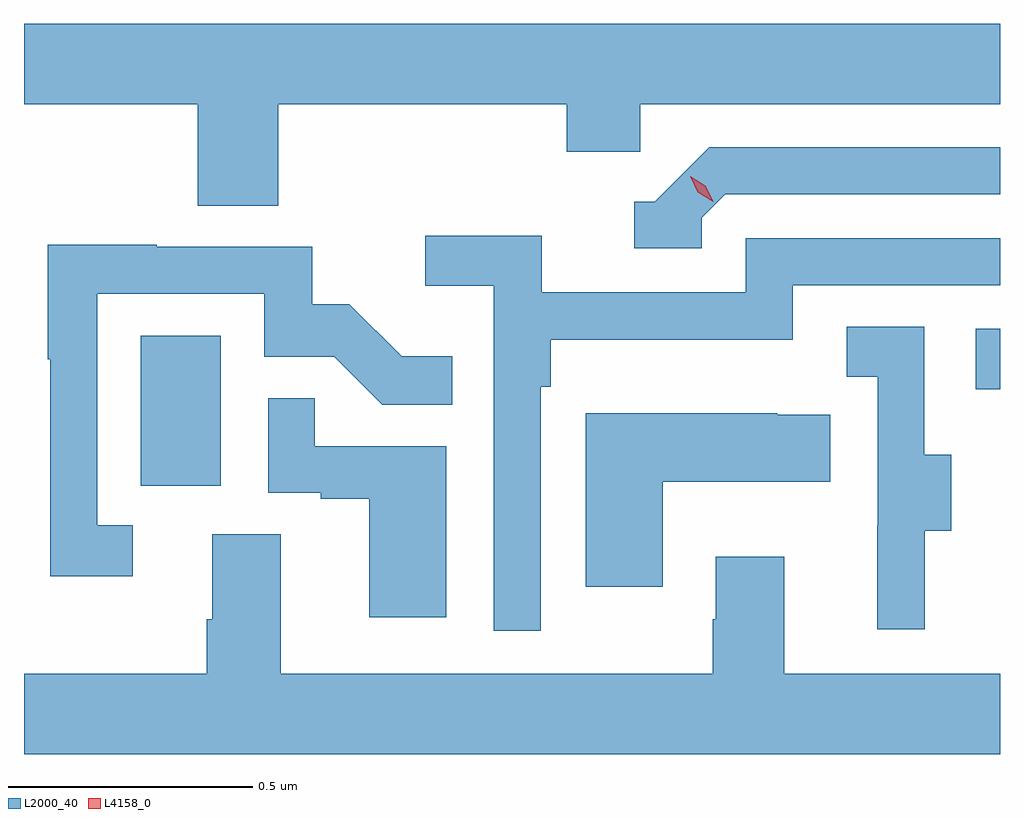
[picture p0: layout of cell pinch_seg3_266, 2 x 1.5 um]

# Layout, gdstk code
import gdstk
lib = gdstk.Library(unit=1e-6, precision=1e-09)
def R(c, l, rs):  # rectangles x0, y0, x1, y1
    for r in rs: c.add(gdstk.rectangle(r[:2], r[2:], *l))
def P(c, l, *ps):  # polygons
    for p in ps: c.add(gdstk.Polygon(p, *l))
L2000_40 = (2000, 40)
L4158_0 = (4158, 0)

pinch_seg3_266 = lib.new_cell('pinch_seg3_266')
R(pinch_seg3_266, L2000_40, [(899.252,721.446,899.416,721.753), (900.963,721.643,901.013,721.767)])
P(pinch_seg3_266, L2000_40, [(899.534,722.228),(900.125,722.228),(900.125,722.13),(900.276,722.13),(900.276,722.228),(901.013,722.228),(901.013,722.392),(899.013,722.392),(899.013,722.228),(899.369,722.228),(899.369,722.02),(899.534,722.02)],
  [(900.402,721.995),(900.45,722.043),(901.013,722.043),(901.013,722.139),(900.417,722.139),(900.306,722.028),(900.263,722.028),(900.263,721.932),(900.402,721.932)],
  [(900.072,721.649),(900.092,721.649),(900.092,721.745),(900.588,721.745),(900.588,721.857),(901.013,721.857),(901.013,721.953),(900.492,721.953),(900.492,721.842),(900.074,721.842),(900.074,721.958),(899.835,721.958),(899.835,721.856),(899.976,721.856),(899.976,721.149),(900.072,721.149)],
  [(899.236,721.365),(899.163,721.365),(899.163,721.839),(899.505,721.839),(899.505,721.71),(899.649,721.71),(899.747,721.612),(899.891,721.612),(899.891,721.711),(899.787,721.711),(899.68,721.818),(899.604,721.818),(899.604,721.935),(899.285,721.935),(899.285,721.94),(899.062,721.94),(899.062,721.705),(899.067,721.705),(899.067,721.26),(899.236,721.26)],
  [(900.859,721.354),(900.913,721.354),(900.913,721.509),(900.858,721.509),(900.858,721.772),(900.699,721.772),(900.699,721.669),(900.762,721.669),(900.762,721.365),(900.761,721.365),(900.761,721.152),(900.859,721.152)],
  [(899.878,721.527),(899.609,721.527),(899.609,721.625),(899.514,721.625),(899.514,721.431),(899.621,721.431),(899.621,721.419),(899.72,721.419),(899.72,721.176),(899.878,721.176)],
  [(900.322,721.454),(900.665,721.454),(900.665,721.591),(900.557,721.591),(900.557,721.594),(900.164,721.594),(900.164,721.239),(900.322,721.239)],
  [(901.013,721.06),(900.571,721.06),(900.571,721.3),(900.431,721.3),(900.431,721.172),(900.424,721.172),(900.424,721.06),(899.539,721.06),(899.539,721.346),(899.399,721.346),(899.399,721.172),(899.387,721.172),(899.387,721.06),(899.013,721.06),(899.013,720.896),(901.013,720.896)])
P(pinch_seg3_266, L4158_0, [(900.425,722.028),(900.394,722.047),(900.378,722.08),(900.378,722.08),(900.378,722.08),(900.409,722.061),(900.425,722.029),(900.425,722.028)])

lib.write_gds('pinch_seg3_266.gds')
